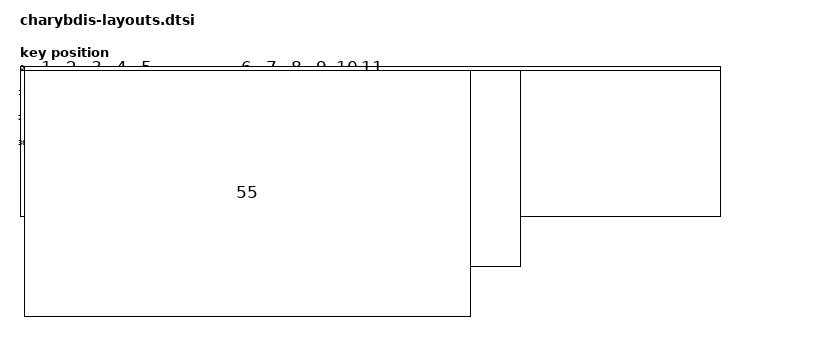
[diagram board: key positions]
/*
 * Copyright (c) 2024 The ZMK Contributors
 * SPDX-License-Identifier: MIT
 */

#include <physical_layouts.dtsi>

/ {
    physical_layout0: physical_layout_0 {
        compatible = "zmk,physical-layout";
        display-name = "Charybdis Custom Layout";
        kscan = <&kscan0>;
        transform = <&default_transform>;
        keys
            // Row 0
            = <&key_physical_attrs 0 0 100 100 0 0 0>
            , <&key_physical_attrs 100 0 100 100 0 0 0>
            , <&key_physical_attrs 200 0 100 100 0 0 0>
            , <&key_physical_attrs 300 0 100 100 0 0 0>
            , <&key_physical_attrs 400 0 100 100 0 0 0>
            , <&key_physical_attrs 500 0 100 100 0 0 0>
            , <&key_physical_attrs 900 0 100 100 0 0 0>
            , <&key_physical_attrs 1000 0 100 100 0 0 0>
            , <&key_physical_attrs 1100 0 100 100 0 0 0>
            , <&key_physical_attrs 1200 0 100 100 0 0 0>
            , <&key_physical_attrs 1300 0 100 100 0 0 0>
            , <&key_physical_attrs 1400 0 100 100 0 0 0>
            // Row 1
            , <&key_physical_attrs 0 100 100 100 0 0 0>
            , <&key_physical_attrs 100 100 100 100 0 0 0>
            , <&key_physical_attrs 200 100 100 100 0 0 0>
            , <&key_physical_attrs 300 100 100 100 0 0 0>
            , <&key_physical_attrs 400 100 100 100 0 0 0>
            , <&key_physical_attrs 500 100 100 100 0 0 0>
            , <&key_physical_attrs 900 100 100 100 0 0 0>
            , <&key_physical_attrs 1000 100 100 100 0 0 0>
            , <&key_physical_attrs 1100 100 100 100 0 0 0>
            , <&key_physical_attrs 1200 100 100 100 0 0 0>
            , <&key_physical_attrs 1300 100 100 100 0 0 0>
            , <&key_physical_attrs 1400 100 100 100 0 0 0>
            // Row 2
            , <&key_physical_attrs 0 200 100 100 0 0 0>
            , <&key_physical_attrs 100 200 100 100 0 0 0>
            , <&key_physical_attrs 200 200 100 100 0 0 0>
            , <&key_physical_attrs 300 200 100 100 0 0 0>
            , <&key_physical_attrs 400 200 100 100 0 0 0>
            , <&key_physical_attrs 500 200 100 100 0 0 0>
            , <&key_physical_attrs 900 200 100 100 0 0 0>
            , <&key_physical_attrs 1000 200 100 100 0 0 0>
            , <&key_physical_attrs 1100 200 100 100 0 0 0>
            , <&key_physical_attrs 1200 200 100 100 0 0 0>
            , <&key_physical_attrs 1300 200 100 100 0 0 0>
            , <&key_physical_attrs 1400 200 100 100 0 0 0>
            // Row 3
            , <&key_physical_attrs 0 300 100 100 0 0 0>
            , <&key_physical_attrs 100 300 100 100 0 0 0>
            , <&key_physical_attrs 200 300 100 100 0 0 0>
            , <&key_physical_attrs 300 300 100 100 0 0 0>
            , <&key_physical_attrs 400 300 100 100 0 0 0>
            , <&key_physical_attrs 500 300 100 100 0 0 0>
            , <&key_physical_attrs 900 300 100 100 0 0 0>
            , <&key_physical_attrs 1000 300 100 100 0 0 0>
            , <&key_physical_attrs 1100 300 100 100 0 0 0>
            , <&key_physical_attrs 1200 300 100 100 0 0 0>
            , <&key_physical_attrs 1300 300 100 100 0 0 0>
            , <&key_physical_attrs 1400 300 100 100 0 0 0>
            // Thumb Row 1 (5 keys)
            , <&key_physical_attrs 300 400 100 100 0 0 0>
            , <&key_physical_attrs 400 400 100 100 0 0 0>
            , <&key_physical_attrs 500 400 100 100 0 0 0>
            , <&key_physical_attrs 900 400 100 100 0 0 0>
            , <&key_physical_attrs 1000 400 100 100 0 0 0>
            // Thumb Row 2 (3 keys)
            , <&key_physical_attrs 400 500 100 100 0 0 0>
            , <&key_physical_attrs 500 500 100 100 0 0 0>
            , <&key_physical_attrs 900 500 100 100 0 0 0>
            ;
    };
};
